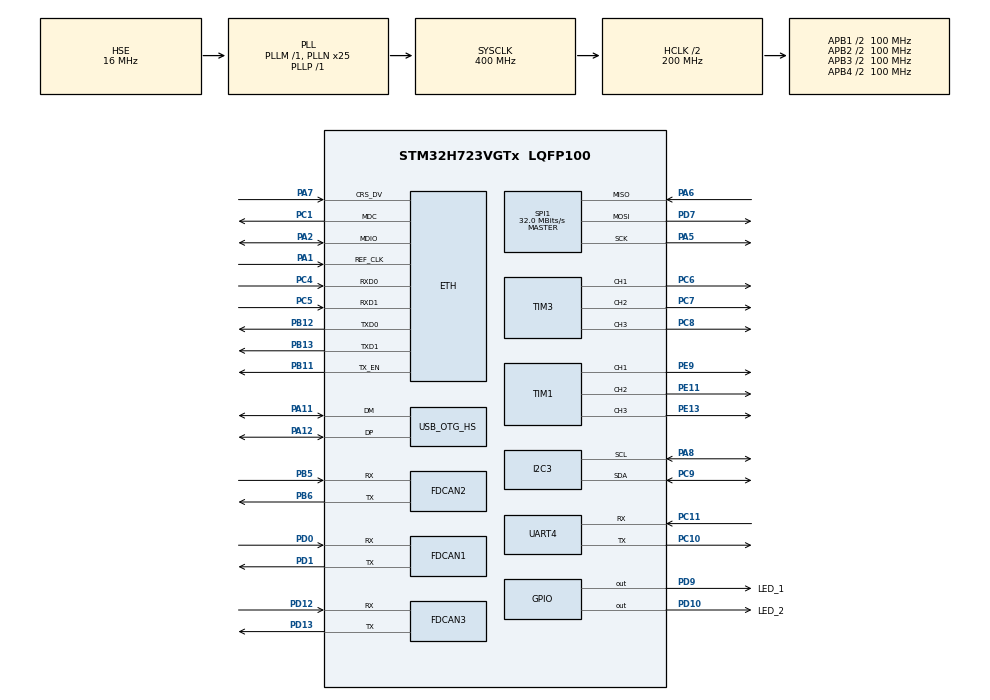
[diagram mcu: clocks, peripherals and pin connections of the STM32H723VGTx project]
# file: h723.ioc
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CORTEX_M7.AccessPermission_S-Cortex_Memory_Protection_Unit_Region1_Settings_S=MPU_REGION_FULL_ACCESS
CORTEX_M7.AccessPermission_S-Cortex_Memory_Protection_Unit_Region2_Settings_S=MPU_REGION_FULL_ACCESS
CORTEX_M7.AccessPermission_Spec=MPU_REGION_FULL_ACCESS
CORTEX_M7.BaseAddress_S-Cortex_Memory_Protection_Unit_Region1_Settings_S=0x30000000
CORTEX_M7.BaseAddress_S-Cortex_Memory_Protection_Unit_Region2_Settings_S=0x24000000
CORTEX_M7.BaseAddress_Spec=0x30000000
CORTEX_M7.CPU_DCache=Enabled
CORTEX_M7.CPU_ICache=Enabled
CORTEX_M7.DisableExec_S-Cortex_Memory_Protection_Unit_Region1_Settings_S=MPU_INSTRUCTION_ACCESS_ENABLE
CORTEX_M7.DisableExec_S-Cortex_Memory_Protection_Unit_Region2_Settings_S=MPU_INSTRUCTION_ACCESS_ENABLE
CORTEX_M7.DisableExec_Spec=MPU_INSTRUCTION_ACCESS_ENABLE
CORTEX_M7.Enable_S-Cortex_Memory_Protection_Unit_Region1_Settings_S=MPU_REGION_ENABLE
CORTEX_M7.Enable_S-Cortex_Memory_Protection_Unit_Region2_Settings_S=MPU_REGION_ENABLE
CORTEX_M7.IsBufferable_S-Cortex_Memory_Protection_Unit_Region1_Settings_S=MPU_ACCESS_BUFFERABLE
CORTEX_M7.IsBufferable_S-Cortex_Memory_Protection_Unit_Region2_Settings_S=MPU_ACCESS_NOT_BUFFERABLE
CORTEX_M7.IsCacheable_S-Cortex_Memory_Protection_Unit_Region2_Settings_S=MPU_ACCESS_NOT_CACHEABLE
CORTEX_M7.IsShareable_S-Cortex_Memory_Protection_Unit_Region1_Settings_S=MPU_ACCESS_SHAREABLE
CORTEX_M7.IsShareable_S-Cortex_Memory_Protection_Unit_Region2_Settings_S=MPU_ACCESS_SHAREABLE
CORTEX_M7.Size_S-Cortex_Memory_Protection_Unit_Region1_Settings_S=MPU_REGION_SIZE_1KB
CORTEX_M7.Size_S-Cortex_Memory_Protection_Unit_Region2_Settings_S=MPU_REGION_SIZE_512KB
CORTEX_M7.Size_Spec=MPU_REGION_SIZE_32KB
CORTEX_M7.SubRegionDisable_Spec=0x0
CORTEX_M7.TypeExtField_S-Cortex_Memory_Protection_Unit_Region2_Settings_S=MPU_TEX_LEVEL1
CORTEX_M7.TypeExtField_Spec=MPU_TEX_LEVEL1
CORTEX_M7.default_mode_Activation=1
ETH.ETH_RX_DESC_CNT=28
ETH.MediaInterface=HAL_ETH_RMII_MODE
ETH.RxBuffLen=1132
ETH.RxBufferAddress=0x30000200
ETH.TxDescAddress=0x300002a0
FDCAN1.CalculateBaudRateNominal=333333
FDCAN1.CalculateTimeBitNominal=3000
FDCAN1.CalculateTimeQuantumNominal=1000.0
FDCAN2.CalculateBaudRateNominal=333333
FDCAN2.CalculateTimeBitNominal=3000
FDCAN2.CalculateTimeQuantumNominal=1000.0
FDCAN3.CalculateBaudRateNominal=333333
FDCAN3.CalculateTimeBitNominal=3000
FDCAN3.CalculateTimeQuantumNominal=1000.0
FREERTOS.Tasks01=defaultTask,0,512,StartDefaultTask,Default,NULL,Dynamic,NULL,NULL
I2C3.Timing=0x10C0ECFF
LWIP.BSP.number=1
LWIP.GATEWAY_ADDRESS=192.168.001.001
LWIP.IP_ADDRESS=192.168.001.010
LWIP.LWIP_DHCP=0
LWIP.LWIP_RAM_HEAP_POINTER=0x24028000
LWIP.MEMP_NUM_PBUF=10
LWIP.MEMP_NUM_RAW_PCB=2
LWIP.MEMP_NUM_TCP_PCB_LISTEN=0
LWIP.MEM_SIZE=16*1024
LWIP.NETMASK_ADDRESS=255.255.255.000
LWIP.PBUF_POOL_BUFSIZE=1536
LWIP.PBUF_POOL_SIZE=16
LWIP.SYS_LIGHTWEIGHT_PROT=0
LWIP.TCP_MSS=1460
LWIP.TCP_SND_BUF=5840
LWIP.TCP_SND_QUEUELEN=16
LWIP.Version=v2.1.2_Cube
LWIP0.BSP.STBoard=false
LWIP0.BSP.api=BSP_COMPONENT_DRIVER
LWIP0.BSP.component=LAN8742
LWIP0.BSP.instance=LAN8742
LWIP0.BSP.name=Driver_PHY
LWIP0.BSP.semaphore=S_LAN8742
LWIP0.BSP.solution=LAN8742
Mcu.Family=STM32H7
Mcu.Name=STM32H723VGTx
Mcu.Package=LQFP100
NVIC.ETH_IRQn=true\:5\:0\:false\:false\:true\:true\:true\:true\:true
NVIC.OTG_HS_IRQn=true\:5\:0\:false\:false\:true\:true\:false\:true\:true
NVIC.PriorityGroup=NVIC_PRIORITYGROUP_4
NVIC.TIM6_DAC_IRQn=true\:15\:0\:false\:false\:true\:false\:false\:true\:true
NVIC.TimeBase=TIM6_DAC_IRQn
NVIC.TimeBaseIP=TIM6
PA1.GPIO_Speed=GPIO_SPEED_FREQ_VERY_HIGH
PA1.Mode=RMII
PA1.Signal=ETH_REF_CLK
PA11.Mode=Device_Only_FS
PA11.Signal=USB_OTG_HS_DM
PA12.Mode=Device_Only_FS
PA12.Signal=USB_OTG_HS_DP
PA13(JTMS/SWDIO).Mode=Serial_Wire
PA13(JTMS/SWDIO).Signal=DEBUG_JTMS-SWDIO
PA14(JTCK/SWCLK).Mode=Serial_Wire
PA14(JTCK/SWCLK).Signal=DEBUG_JTCK-SWCLK
PA2.GPIO_Speed=GPIO_SPEED_FREQ_VERY_HIGH
PA2.Mode=RMII
PA2.Signal=ETH_MDIO
PA5.Mode=Full_Duplex_Master
PA5.Signal=SPI1_SCK
PA6.Mode=Full_Duplex_Master
PA6.Signal=SPI1_MISO
PA7.GPIO_Speed=GPIO_SPEED_FREQ_VERY_HIGH
PA7.Mode=RMII
PA7.Signal=ETH_CRS_DV
PA8.Mode=I2C
PA8.Signal=I2C3_SCL
PB11.GPIO_Speed=GPIO_SPEED_FREQ_VERY_HIGH
PB11.Mode=RMII
PB11.Signal=ETH_TX_EN
PB12.GPIO_Speed=GPIO_SPEED_FREQ_VERY_HIGH
PB12.Mode=RMII
PB12.Signal=ETH_TXD0
PB13.GPIO_Speed=GPIO_SPEED_FREQ_VERY_HIGH
PB13.Mode=RMII
PB13.Signal=ETH_TXD1
PB5.Mode=FDCAN_Activate
PB5.Signal=FDCAN2_RX
PB6.Mode=FDCAN_Activate
PB6.Signal=FDCAN2_TX
PC1.GPIO_Speed=GPIO_SPEED_FREQ_VERY_HIGH
PC1.Mode=RMII
PC1.Signal=ETH_MDC
PC10.Mode=Asynchronous
PC10.Signal=UART4_TX
PC11.Mode=Asynchronous
PC11.Signal=UART4_RX
PC4.GPIO_Speed=GPIO_SPEED_FREQ_VERY_HIGH
PC4.Mode=RMII
PC4.Signal=ETH_RXD0
PC5.GPIO_Speed=GPIO_SPEED_FREQ_VERY_HIGH
PC5.Mode=RMII
PC5.Signal=ETH_RXD1
PC6.Signal=S_TIM3_CH1
PC7.Signal=S_TIM3_CH2
PC8.Signal=S_TIM3_CH3
PC9.Mode=I2C
PC9.Signal=I2C3_SDA
PD0.Mode=FDCAN_Activate
PD0.Signal=FDCAN1_RX
PD1.Mode=FDCAN_Activate
PD1.Signal=FDCAN1_TX
PD10.GPIO_Label=LED_2
PD10.Signal=GPIO_Output
PD12.Mode=FDCAN_Activate
PD12.Signal=FDCAN3_RX
PD13.Mode=FDCAN_Activate
PD13.Signal=FDCAN3_TX
PD7.Mode=Full_Duplex_Master
PD7.Signal=SPI1_MOSI
PD9.GPIO_Label=LED_1
PD9.Signal=GPIO_Output
PE11.Signal=S_TIM1_CH2
PE13.Signal=S_TIM1_CH3
PE9.Signal=S_TIM1_CH1
PH0-OSC_IN.Mode=HSE-External-Oscillator
PH0-OSC_IN.Signal=RCC_OSC_IN
PH1-OSC_OUT.Mode=HSE-External-Oscillator
PH1-OSC_OUT.Signal=RCC_OSC_OUT
ProjectManager.HeapSize=0x200
ProjectManager.StackSize=0x400
ProjectManager.TargetToolchain=Makefile
RCC.ADCFreq_Value=32250000
RCC.APB1Freq_Value=100000000
RCC.APB2Freq_Value=100000000
RCC.APB3Freq_Value=100000000
RCC.APB4Freq_Value=100000000
RCC.CortexFreq_Value=400000000
RCC.D1PPRE=RCC_APB3_DIV2
RCC.D2PPRE1=RCC_APB1_DIV2
RCC.D2PPRE2=RCC_APB2_DIV2
RCC.D3PPRE=RCC_APB4_DIV2
RCC.DIVM1=1
RCC.DIVN1=25
RCC.DIVP1=1
RCC.DIVQ1=3
RCC.FDCANCLockSelection=RCC_FDCANCLKSOURCE_HSE
RCC.HCLKFreq_Value=200000000
RCC.HPRE=RCC_HCLK_DIV2
RCC.HSE_VALUE=16000000
RCC.PLL2FRACN=0
RCC.PLL3FRACN=0
RCC.PLLFRACN=0
RCC.PLLSourceVirtual=RCC_PLLSOURCE_HSE
RCC.PWR_Regulator_Voltage_Scale=PWR_REGULATOR_VOLTAGE_SCALE0
RCC.SPI123CLockSelection=RCC_SPI123CLKSOURCE_CLKP
RCC.SYSCLKFreq_VALUE=400000000
RCC.SYSCLKSource=RCC_SYSCLKSOURCE_PLLCLK
RCC.USBCLockSelection=RCC_USBCLKSOURCE_HSI48
RCC.USBFreq_Value=48000000
SH.S_TIM1_CH1.0=TIM1_CH1,PWM Generation1 CH1
SH.S_TIM1_CH2.0=TIM1_CH2,Output Compare2 CH2
SH.S_TIM1_CH3.0=TIM1_CH3,Output Compare3 CH3
SH.S_TIM3_CH1.0=TIM3_CH1,PWM Generation1 CH1
SH.S_TIM3_CH2.0=TIM3_CH2,PWM Generation2 CH2
SH.S_TIM3_CH3.0=TIM3_CH3,PWM Generation3 CH3
SPI1.CalculateBaudRate=32.0 MBits/s
SPI1.Direction=SPI_DIRECTION_2LINES
SPI1.Mode=SPI_MODE_MASTER
SPI1.VirtualType=VM_MASTER
TIM1.Channel-Output\ Compare2\ CH2=TIM_CHANNEL_2
TIM1.Channel-Output\ Compare3\ CH3=TIM_CHANNEL_3
TIM1.Channel-PWM\ Generation1\ CH1=TIM_CHANNEL_1
TIM3.Channel-PWM\ Generation1\ CH1=TIM_CHANNEL_1
TIM3.Channel-PWM\ Generation2\ CH2=TIM_CHANNEL_2
TIM3.Channel-PWM\ Generation3\ CH3=TIM_CHANNEL_3
USB_DEVICE.CLASS_NAME_HS=CDC
USB_DEVICE.VirtualMode=Cdc
USB_DEVICE.VirtualModeHS=Cdc_HS
USB_OTG_HS.VirtualMode-Device_Only_FS=Device_Only_FS
VP_FREERTOS_VS_CMSIS_V1.Mode=CMSIS_V1
VP_LWIP_VS_Enabled.Mode=Enabled
VP_MEMORYMAP_VS_MEMORYMAP.Mode=CurAppReg
VP_SYS_VS_tim6.Mode=TIM6
VP_USB_DEVICE_VS_USB_DEVICE_CDC_HS.Mode=CDC_HS
board=custom

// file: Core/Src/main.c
/* USER CODE BEGIN Header */
/**
 ******************************************************************************
 * @file           : main.c
 * @brief          : Main program body
 ******************************************************************************
 * @attention
 *
 * Copyright (c) 2025 STMicroelectronics.
 * All rights reserved.
 *
 * This software is licensed under terms that can be found in the LICENSE file
 * in the root directory of this software component.
 * If no LICENSE file comes with this software, it is provided AS-IS.
 *
 ******************************************************************************
 */
/* USER CODE END Header */
#include "main.h"
#include "cmsis_os.h"
#include "lwip.h"
#include "usb_device.h"

/* USER CODE BEGIN Includes */
#include "usbd_cdc_if.h"
#include <string.h>
#include <stdio.h>
#include "lwip/udp.h"
#include "lwip/pbuf.h"
#include "usbd_cdc_if.h"
/* USER CODE END Includes */

FDCAN_HandleTypeDef hfdcan1;
FDCAN_HandleTypeDef hfdcan2;
FDCAN_HandleTypeDef hfdcan3;

I2C_HandleTypeDef hi2c3;

SPI_HandleTypeDef hspi1;

TIM_HandleTypeDef htim1;
TIM_HandleTypeDef htim3;

UART_HandleTypeDef huart4;

osThreadId defaultTaskHandle;

void SystemClock_Config(void);
void PeriphCommonClock_Config(void);
static void MPU_Config(void);
static void MX_GPIO_Init(void);
static void MX_FDCAN1_Init(void);
static void MX_FDCAN2_Init(void);
static void MX_FDCAN3_Init(void);
static void MX_I2C3_Init(void);
static void MX_SPI1_Init(void);
static void MX_TIM1_Init(void);
static void MX_TIM3_Init(void);
static void MX_UART4_Init(void);
void StartDefaultTask(void const *argument);

/* USER CODE BEGIN 0 */
char *buf = "Hello\n\r";
/* USER CODE END 0 */

int main(void)
{

  /* MPU Configuration--------------------------------------------------------*/
  MPU_Config();

  /* Enable the CPU Cache */

  /* Enable I-Cache---------------------------------------------------------*/
  SCB_EnableICache();

  /* Enable D-Cache---------------------------------------------------------*/
  SCB_EnableDCache();

  /* MCU Configuration--------------------------------------------------------*/

  /* Reset of all peripherals, Initializes the Flash interface and the Systick. */
  HAL_Init();

  /* Configure the system clock */
  SystemClock_Config();

  /* Configure the peripherals common clocks */
  PeriphCommonClock_Config();

  /* Initialize all configured peripherals */
  MX_GPIO_Init();
  MX_FDCAN1_Init();
  MX_FDCAN2_Init();
  MX_FDCAN3_Init();
  MX_I2C3_Init();
  MX_SPI1_Init();
  MX_TIM1_Init();
  MX_TIM3_Init();
  MX_UART4_Init();
  /* USER CODE BEGIN 2 */
  buf = "Hello\n\r";
  /* USER CODE END 2 */

  /* Create the thread(s) */
  /* definition and creation of defaultTask */
  osThreadDef(defaultTask, StartDefaultTask, osPriorityNormal, 0, 512);
  defaultTaskHandle = osThreadCreate(osThread(defaultTask), NULL);

  /* Start scheduler */
  osKernelStart();

  /* We should never get here as control is now taken by the scheduler */

  /* Infinite loop */
  while (1)
  {

  }
}

void SystemClock_Config(void)
{
  RCC_OscInitTypeDef RCC_OscInitStruct = {0};
  RCC_ClkInitTypeDef RCC_ClkInitStruct = {0};

  /** Supply configuration update enable
   */
  HAL_PWREx_ConfigSupply(PWR_LDO_SUPPLY);

  /** Configure the main internal regulator output voltage
   */
  __HAL_PWR_VOLTAGESCALING_CONFIG(PWR_REGULATOR_VOLTAGE_SCALE0);

  while (!__HAL_PWR_GET_FLAG(PWR_FLAG_VOSRDY))
  {
  }

  /** Initializes the RCC Oscillators according to the specified parameters
   * in the RCC_OscInitTypeDef structure.
   */
  RCC_OscInitStruct.OscillatorType = RCC_OSCILLATORTYPE_HSI48 | RCC_OSCILLATORTYPE_HSI | RCC_OSCILLATORTYPE_HSE;
  RCC_OscInitStruct.HSEState = RCC_HSE_ON;
  RCC_OscInitStruct.HSIState = RCC_HSI_DIV1;
  RCC_OscInitStruct.HSICalibrationValue = 64;
  RCC_OscInitStruct.HSI48State = RCC_HSI48_ON;
  RCC_OscInitStruct.PLL.PLLState = RCC_PLL_ON;
  RCC_OscInitStruct.PLL.PLLSource = RCC_PLLSOURCE_HSE;
  RCC_OscInitStruct.PLL.PLLM = 1;
  RCC_OscInitStruct.PLL.PLLN = 25;
  RCC_OscInitStruct.PLL.PLLP = 1;
  RCC_OscInitStruct.PLL.PLLQ = 3;
  RCC_OscInitStruct.PLL.PLLR = 2;
  RCC_OscInitStruct.PLL.PLLRGE = RCC_PLL1VCIRANGE_3;
  RCC_OscInitStruct.PLL.PLLVCOSEL = RCC_PLL1VCOWIDE;
  RCC_OscInitStruct.PLL.PLLFRACN = 0;
  if (HAL_RCC_OscConfig(&RCC_OscInitStruct) != HAL_OK)
  {
    Error_Handler();
  }

  /** Initializes the CPU, AHB and APB buses clocks
   */
  RCC_ClkInitStruct.ClockType = RCC_CLOCKTYPE_HCLK | RCC_CLOCKTYPE_SYSCLK | RCC_CLOCKTYPE_PCLK1 | RCC_CLOCKTYPE_PCLK2 | RCC_CLOCKTYPE_D3PCLK1 | RCC_CLOCKTYPE_D1PCLK1;
  RCC_ClkInitStruct.SYSCLKSource = RCC_SYSCLKSOURCE_PLLCLK;
  RCC_ClkInitStruct.SYSCLKDivider = RCC_SYSCLK_DIV1;
  RCC_ClkInitStruct.AHBCLKDivider = RCC_HCLK_DIV2;
  RCC_ClkInitStruct.APB3CLKDivider = RCC_APB3_DIV2;
  RCC_ClkInitStruct.APB1CLKDivider = RCC_APB1_DIV2;
  RCC_ClkInitStruct.APB2CLKDivider = RCC_APB2_DIV2;
  RCC_ClkInitStruct.APB4CLKDivider = RCC_APB4_DIV2;

  if (HAL_RCC_ClockConfig(&RCC_ClkInitStruct, FLASH_LATENCY_2) != HAL_OK)
  {
    Error_Handler();
  }
}

void PeriphCommonClock_Config(void)
{
  RCC_PeriphCLKInitTypeDef PeriphClkInitStruct = {0};

  /** Initializes the peripherals clock
   */
  PeriphClkInitStruct.PeriphClockSelection = RCC_PERIPHCLK_CKPER;
  PeriphClkInitStruct.CkperClockSelection = RCC_CLKPSOURCE_HSI;
  if (HAL_RCCEx_PeriphCLKConfig(&PeriphClkInitStruct) != HAL_OK)
  {
    Error_Handler();
  }
}

static void MX_FDCAN1_Init(void)
{

  hfdcan1.Instance = FDCAN1;
  hfdcan1.Init.FrameFormat = FDCAN_FRAME_CLASSIC;
  hfdcan1.Init.Mode = FDCAN_MODE_NORMAL;
  hfdcan1.Init.AutoRetransmission = DISABLE;
  hfdcan1.Init.TransmitPause = DISABLE;
  hfdcan1.Init.ProtocolException = DISABLE;
  hfdcan1.Init.NominalPrescaler = 16;
  hfdcan1.Init.NominalSyncJumpWidth = 1;
  hfdcan1.Init.NominalTimeSeg1 = 1;
  hfdcan1.Init.NominalTimeSeg2 = 1;
  hfdcan1.Init.DataPrescaler = 1;
  hfdcan1.Init.DataSyncJumpWidth = 1;
  hfdcan1.Init.DataTimeSeg1 = 1;
  hfdcan1.Init.DataTimeSeg2 = 1;
  hfdcan1.Init.MessageRAMOffset = 0;
  hfdcan1.Init.StdFiltersNbr = 0;
  hfdcan1.Init.ExtFiltersNbr = 0;
  hfdcan1.Init.RxFifo0ElmtsNbr = 0;
  hfdcan1.Init.RxFifo0ElmtSize = FDCAN_DATA_BYTES_8;
  hfdcan1.Init.RxFifo1ElmtsNbr = 0;
  hfdcan1.Init.RxFifo1ElmtSize = FDCAN_DATA_BYTES_8;
  hfdcan1.Init.RxBuffersNbr = 0;
  hfdcan1.Init.RxBufferSize = FDCAN_DATA_BYTES_8;
  hfdcan1.Init.TxEventsNbr = 0;
  hfdcan1.Init.TxBuffersNbr = 0;
  hfdcan1.Init.TxFifoQueueElmtsNbr = 0;
  hfdcan1.Init.TxFifoQueueMode = FDCAN_TX_FIFO_OPERATION;
  hfdcan1.Init.TxElmtSize = FDCAN_DATA_BYTES_8;
  if (HAL_FDCAN_Init(&hfdcan1) != HAL_OK)
  {
    Error_Handler();
  }
}

static void MX_FDCAN2_Init(void)
{

  hfdcan2.Instance = FDCAN2;
  hfdcan2.Init.FrameFormat = FDCAN_FRAME_CLASSIC;
  hfdcan2.Init.Mode = FDCAN_MODE_NORMAL;
  hfdcan2.Init.AutoRetransmission = DISABLE;
  hfdcan2.Init.TransmitPause = DISABLE;
  hfdcan2.Init.ProtocolException = DISABLE;
  hfdcan2.Init.NominalPrescaler = 16;
  hfdcan2.Init.NominalSyncJumpWidth = 1;
  hfdcan2.Init.NominalTimeSeg1 = 1;
  hfdcan2.Init.NominalTimeSeg2 = 1;
  hfdcan2.Init.DataPrescaler = 1;
  hfdcan2.Init.DataSyncJumpWidth = 1;
  hfdcan2.Init.DataTimeSeg1 = 1;
  hfdcan2.Init.DataTimeSeg2 = 1;
  hfdcan2.Init.MessageRAMOffset = 0;
  hfdcan2.Init.StdFiltersNbr = 0;
  hfdcan2.Init.ExtFiltersNbr = 0;
  hfdcan2.Init.RxFifo0ElmtsNbr = 0;
  hfdcan2.Init.RxFifo0ElmtSize = FDCAN_DATA_BYTES_8;
  hfdcan2.Init.RxFifo1ElmtsNbr = 0;
  hfdcan2.Init.RxFifo1ElmtSize = FDCAN_DATA_BYTES_8;
  hfdcan2.Init.RxBuffersNbr = 0;
  hfdcan2.Init.RxBufferSize = FDCAN_DATA_BYTES_8;
  hfdcan2.Init.TxEventsNbr = 0;
  hfdcan2.Init.TxBuffersNbr = 0;
  hfdcan2.Init.TxFifoQueueElmtsNbr = 0;
  hfdcan2.Init.TxFifoQueueMode = FDCAN_TX_FIFO_OPERATION;
  hfdcan2.Init.TxElmtSize = FDCAN_DATA_BYTES_8;
  if (HAL_FDCAN_Init(&hfdcan2) != HAL_OK)
  {
    Error_Handler();
  }
}

static void MX_FDCAN3_Init(void)
{

  hfdcan3.Instance = FDCAN3;
  hfdcan3.Init.FrameFormat = FDCAN_FRAME_CLASSIC;
  hfdcan3.Init.Mode = FDCAN_MODE_NORMAL;
  hfdcan3.Init.AutoRetransmission = DISABLE;
  hfdcan3.Init.TransmitPause = DISABLE;
  hfdcan3.Init.ProtocolException = DISABLE;
  hfdcan3.Init.NominalPrescaler = 16;
  hfdcan3.Init.NominalSyncJumpWidth = 1;
  hfdcan3.Init.NominalTimeSeg1 = 1;
  hfdcan3.Init.NominalTimeSeg2 = 1;
  hfdcan3.Init.DataPrescaler = 1;
  hfdcan3.Init.DataSyncJumpWidth = 1;
  hfdcan3.Init.DataTimeSeg1 = 1;
  hfdcan3.Init.DataTimeSeg2 = 1;
  hfdcan3.Init.MessageRAMOffset = 0;
  hfdcan3.Init.StdFiltersNbr = 0;
  hfdcan3.Init.ExtFiltersNbr = 0;
  hfdcan3.Init.RxFifo0ElmtsNbr = 0;
  hfdcan3.Init.RxFifo0ElmtSize = FDCAN_DATA_BYTES_8;
  hfdcan3.Init.RxFifo1ElmtsNbr = 0;
  hfdcan3.Init.RxFifo1ElmtSize = FDCAN_DATA_BYTES_8;
  hfdcan3.Init.RxBuffersNbr = 0;
  hfdcan3.Init.RxBufferSize = FDCAN_DATA_BYTES_8;
  hfdcan3.Init.TxEventsNbr = 0;
  hfdcan3.Init.TxBuffersNbr = 0;
  hfdcan3.Init.TxFifoQueueElmtsNbr = 0;
  hfdcan3.Init.TxFifoQueueMode = FDCAN_TX_FIFO_OPERATION;
  hfdcan3.Init.TxElmtSize = FDCAN_DATA_BYTES_8;
  if (HAL_FDCAN_Init(&hfdcan3) != HAL_OK)
  {
    Error_Handler();
  }
}

static void MX_I2C3_Init(void)
{

  hi2c3.Instance = I2C3;
  hi2c3.Init.Timing = 0x10C0ECFF;
  hi2c3.Init.OwnAddress1 = 0;
  hi2c3.Init.AddressingMode = I2C_ADDRESSINGMODE_7BIT;
  hi2c3.Init.DualAddressMode = I2C_DUALADDRESS_DISABLE;
  hi2c3.Init.OwnAddress2 = 0;
  hi2c3.Init.OwnAddress2Masks = I2C_OA2_NOMASK;
  hi2c3.Init.GeneralCallMode = I2C_GENERALCALL_DISABLE;
  hi2c3.Init.NoStretchMode = I2C_NOSTRETCH_DISABLE;
  if (HAL_I2C_Init(&hi2c3) != HAL_OK)
  {
    Error_Handler();
  }

  /** Configure Analogue filter
   */
  if (HAL_I2CEx_ConfigAnalogFilter(&hi2c3, I2C_ANALOGFILTER_ENABLE) != HAL_OK)
  {
    Error_Handler();
  }

  /** Configure Digital filter
   */
  if (HAL_I2CEx_ConfigDigitalFilter(&hi2c3, 0) != HAL_OK)
  {
    Error_Handler();
  }
}

static void MX_SPI1_Init(void)
{

  /* SPI1 parameter configuration*/
  hspi1.Instance = SPI1;
  hspi1.Init.Mode = SPI_MODE_MASTER;
  hspi1.Init.Direction = SPI_DIRECTION_2LINES;
  hspi1.Init.DataSize = SPI_DATASIZE_4BIT;
  hspi1.Init.CLKPolarity = SPI_POLARITY_LOW;
  hspi1.Init.CLKPhase = SPI_PHASE_1EDGE;
  hspi1.Init.NSS = SPI_NSS_SOFT;
  hspi1.Init.BaudRatePrescaler = SPI_BAUDRATEPRESCALER_2;
  hspi1.Init.FirstBit = SPI_FIRSTBIT_MSB;
  hspi1.Init.TIMode = SPI_TIMODE_DISABLE;
  hspi1.Init.CRCCalculation = SPI_CRCCALCULATION_DISABLE;
  hspi1.Init.CRCPolynomial = 0x0;
  hspi1.Init.NSSPMode = SPI_NSS_PULSE_ENABLE;
  hspi1.Init.NSSPolarity = SPI_NSS_POLARITY_LOW;
  hspi1.Init.FifoThreshold = SPI_FIFO_THRESHOLD_01DATA;
  hspi1.Init.TxCRCInitializationPattern = SPI_CRC_INITIALIZATION_ALL_ZERO_PATTERN;
  hspi1.Init.RxCRCInitializationPattern = SPI_CRC_INITIALIZATION_ALL_ZERO_PATTERN;
  hspi1.Init.MasterSSIdleness = SPI_MASTER_SS_IDLENESS_00CYCLE;
  hspi1.Init.MasterInterDataIdleness = SPI_MASTER_INTERDATA_IDLENESS_00CYCLE;
  hspi1.Init.MasterReceiverAutoSusp = SPI_MASTER_RX_AUTOSUSP_DISABLE;
  hspi1.Init.MasterKeepIOState = SPI_MASTER_KEEP_IO_STATE_DISABLE;
  hspi1.Init.IOSwap = SPI_IO_SWAP_DISABLE;
  if (HAL_SPI_Init(&hspi1) != HAL_OK)
  {
    Error_Handler();
  }
}

static void MX_TIM1_Init(void)
{

  TIM_MasterConfigTypeDef sMasterConfig = {0};
  TIM_OC_InitTypeDef sConfigOC = {0};
  TIM_BreakDeadTimeConfigTypeDef sBreakDeadTimeConfig = {0};

  htim1.Instance = TIM1;
  htim1.Init.Prescaler = 0;
  htim1.Init.CounterMode = TIM_COUNTERMODE_UP;
  htim1.Init.Period = 65535;
  htim1.Init.ClockDivision = TIM_CLOCKDIVISION_DIV1;
  htim1.Init.RepetitionCounter = 0;
  htim1.Init.AutoReloadPreload = TIM_AUTORELOAD_PRELOAD_DISABLE;
  if (HAL_TIM_PWM_Init(&htim1) != HAL_OK)
  {
    Error_Handler();
  }
  if (HAL_TIM_OC_Init(&htim1) != HAL_OK)
  {
    Error_Handler();
  }
  sMasterConfig.MasterOutputTrigger = TIM_TRGO_RESET;
  sMasterConfig.MasterOutputTrigger2 = TIM_TRGO2_RESET;
  sMasterConfig.MasterSlaveMode = TIM_MASTERSLAVEMODE_DISABLE;
  if (HAL_TIMEx_MasterConfigSynchronization(&htim1, &sMasterConfig) != HAL_OK)
  {
    Error_Handler();
  }
  sConfigOC.OCMode = TIM_OCMODE_PWM1;
  sConfigOC.Pulse = 0;
  sConfigOC.OCPolarity = TIM_OCPOLARITY_HIGH;
  sConfigOC.OCNPolarity = TIM_OCNPOLARITY_HIGH;
  sConfigOC.OCFastMode = TIM_OCFAST_DISABLE;
  sConfigOC.OCIdleState = TIM_OCIDLESTATE_RESET;
  sConfigOC.OCNIdleState = TIM_OCNIDLESTATE_RESET;
  if (HAL_TIM_PWM_ConfigChannel(&htim1, &sConfigOC, TIM_CHANNEL_1) != HAL_OK)
  {
    Error_Handler();
  }
  sConfigOC.OCMode = TIM_OCMODE_TIMING;
  if (HAL_TIM_OC_ConfigChannel(&htim1, &sConfigOC, TIM_CHANNEL_2) != HAL_OK)
  {
    Error_Handler();
  }
  if (HAL_TIM_OC_ConfigChannel(&htim1, &sConfigOC, TIM_CHANNEL_3) != HAL_OK)
  {
    Error_Handler();
  }
  sBreakDeadTimeConfig.OffStateRunMode = TIM_OSSR_DISABLE;
  sBreakDeadTimeConfig.OffStateIDLEMode = TIM_OSSI_DISABLE;
  sBreakDeadTimeConfig.LockLevel = TIM_LOCKLEVEL_OFF;
  sBreakDeadTimeConfig.DeadTime = 0;
  sBreakDeadTimeConfig.BreakState = TIM_BREAK_DISABLE;
  sBreakDeadTimeConfig.BreakPolarity = TIM_BREAKPOLARITY_HIGH;
  sBreakDeadTimeConfig.BreakFilter = 0;
  sBreakDeadTimeConfig.Break2State = TIM_BREAK2_DISABLE;
  sBreakDeadTimeConfig.Break2Polarity = TIM_BREAK2POLARITY_HIGH;
  sBreakDeadTimeConfig.Break2Filter = 0;
  sBreakDeadTimeConfig.AutomaticOutput = TIM_AUTOMATICOUTPUT_DISABLE;
  if (HAL_TIMEx_ConfigBreakDeadTime(&htim1, &sBreakDeadTimeConfig) != HAL_OK)
  {
    Error_Handler();
  }
  HAL_TIM_MspPostInit(&htim1);
}

static void MX_TIM3_Init(void)
{

  TIM_MasterConfigTypeDef sMasterConfig = {0};
  TIM_OC_InitTypeDef sConfigOC = {0};

  htim3.Instance = TIM3;
  htim3.Init.Prescaler = 0;
  htim3.Init.CounterMode = TIM_COUNTERMODE_UP;
  htim3.Init.Period = 65535;
  htim3.Init.ClockDivision = TIM_CLOCKDIVISION_DIV1;
  htim3.Init.AutoReloadPreload = TIM_AUTORELOAD_PRELOAD_DISABLE;
  if (HAL_TIM_PWM_Init(&htim3) != HAL_OK)
  {
    Error_Handler();
  }
  sMasterConfig.MasterOutputTrigger = TIM_TRGO_RESET;
  sMasterConfig.MasterSlaveMode = TIM_MASTERSLAVEMODE_DISABLE;
  if (HAL_TIMEx_MasterConfigSynchronization(&htim3, &sMasterConfig) != HAL_OK)
  {
    Error_Handler();
  }
  sConfigOC.OCMode = TIM_OCMODE_PWM1;
  sConfigOC.Pulse = 0;
  sConfigOC.OCPolarity = TIM_OCPOLARITY_HIGH;
  sConfigOC.OCFastMode = TIM_OCFAST_DISABLE;
  if (HAL_TIM_PWM_ConfigChannel(&htim3, &sConfigOC, TIM_CHANNEL_1) != HAL_OK)
  {
    Error_Handler();
  }
  if (HAL_TIM_PWM_ConfigChannel(&htim3, &sConfigOC, TIM_CHANNEL_2) != HAL_OK)
  {
    Error_Handler();
  }
  if (HAL_TIM_PWM_ConfigChannel(&htim3, &sConfigOC, TIM_CHANNEL_3) != HAL_OK)
  {
    Error_Handler();
  }
  HAL_TIM_MspPostInit(&htim3);
}

static void MX_UART4_Init(void)
{

  huart4.Instance = UART4;
  huart4.Init.BaudRate = 115200;
  huart4.Init.WordLength = UART_WORDLENGTH_8B;
  huart4.Init.StopBits = UART_STOPBITS_1;
  huart4.Init.Parity = UART_PARITY_NONE;
  huart4.Init.Mode = UART_MODE_TX_RX;
  huart4.Init.HwFlowCtl = UART_HWCONTROL_NONE;
  huart4.Init.OverSampling = UART_OVERSAMPLING_16;
  huart4.Init.OneBitSampling = UART_ONE_BIT_SAMPLE_DISABLE;
  huart4.Init.ClockPrescaler = UART_PRESCALER_DIV1;
  huart4.AdvancedInit.AdvFeatureInit = UART_ADVFEATURE_NO_INIT;
  if (HAL_UART_Init(&huart4) != HAL_OK)
  {
    Error_Handler();
  }
  if (HAL_UARTEx_SetTxFifoThreshold(&huart4, UART_TXFIFO_THRESHOLD_1_8) != HAL_OK)
  {
    Error_Handler();
  }
  if (HAL_UARTEx_SetRxFifoThreshold(&huart4, UART_RXFIFO_THRESHOLD_1_8) != HAL_OK)
  {
    Error_Handler();
  }
  if (HAL_UARTEx_DisableFifoMode(&huart4) != HAL_OK)
  {
    Error_Handler();
  }
}

static void MX_GPIO_Init(void)
{
  GPIO_InitTypeDef GPIO_InitStruct = {0};

  /* GPIO Ports Clock Enable */
  __HAL_RCC_GPIOH_CLK_ENABLE();
  __HAL_RCC_GPIOC_CLK_ENABLE();
  __HAL_RCC_GPIOA_CLK_ENABLE();
  __HAL_RCC_GPIOE_CLK_ENABLE();
  __HAL_RCC_GPIOB_CLK_ENABLE();
  __HAL_RCC_GPIOD_CLK_ENABLE();

  /*Configure GPIO pin Output Level */
  HAL_GPIO_WritePin(GPIOD, LED_1_Pin | LED_2_Pin, GPIO_PIN_RESET);

  /*Configure GPIO pins : LED_1_Pin LED_2_Pin */
  GPIO_InitStruct.Pin = LED_1_Pin | LED_2_Pin;
  GPIO_InitStruct.Mode = GPIO_MODE_OUTPUT_PP;
  GPIO_InitStruct.Pull = GPIO_NOPULL;
  GPIO_InitStruct.Speed = GPIO_SPEED_FREQ_LOW;
  HAL_GPIO_Init(GPIOD, &GPIO_InitStruct);

}

void StartDefaultTask(void const *argument)
{
  /* init code for LWIP */
  MX_LWIP_Init();

  /* init code for USB_DEVICE */
  MX_USB_DEVICE_Init();
  /* USER CODE BEGIN 5 */
  const char *message = "Hello UDP message!\n\r";

  osDelay(1000);

  ip_addr_t PC_IPADDR;
  IP_ADDR4(&PC_IPADDR, 192, 168, 1, 1);

  struct udp_pcb *my_udp = udp_new();
  udp_connect(my_udp, &PC_IPADDR, 55151);
  struct pbuf *udp_buffer = NULL;

  // ネットワークインターフェースの取得
  extern struct netif gnetif;

  // リンクが確立するまで待機
  CDC_Transmit_HS((uint8_t *)"Waiting for link up...\r\n", strlen("Waiting for link up...\r\n"));
  osDelay(100); // USB CDC送信待ち

  while (!netif_is_link_up(&gnetif))
  {
    osDelay(100);
  }
  CDC_Transmit_HS((uint8_t *)"Link is UP!\r\n", strlen("Link is UP!\r\n"));
  osDelay(100); // USB CDC送信待ち

  // インターフェースがupするまで待機
  while (!netif_is_up(&gnetif))
  {
    osDelay(100);
  }
  CDC_Transmit_HS((uint8_t *)"Interface is UP!\r\n", strlen("Interface is UP!\r\n"));
  osDelay(100); // USB CDC送信待ち

  // さらに少し待機（ARPテーブル構築のため）
  osDelay(2000); // 2秒待機（Rx割り込みが動作するか確認）

  CDC_Transmit_HS((uint8_t *)"Starting UDP...\r\n", strlen("Starting UDP...\r\n"));
  osDelay(100);

  /* Infinite loop */
  for (;;)
  {
    // LED点滅など
    osDelay(1000);
    /* !! PBUF_RAM は正しい動作のために重要です !! */
    udp_buffer = pbuf_alloc(PBUF_TRANSPORT, strlen(message), PBUF_RAM);

    if (udp_buffer != NULL)
    {
      memcpy(udp_buffer->payload, message, strlen(message));
      err_t err = udp_send(my_udp, udp_buffer);
      pbuf_free(udp_buffer);

      // udp_sendの結果を表示
      if (err == ERR_OK)
      {
        CDC_Transmit_HS((uint8_t *)"UDP sent OK\r\n", strlen("UDP sent OK\r\n"));
      }
      else
      {
        char err_msg[50];
        snprintf(err_msg, sizeof(err_msg), "UDP send ERROR: %d\r\n", err);
        CDC_Transmit_HS((uint8_t *)err_msg, strlen(err_msg));
      }
    }
    else
    {
      CDC_Transmit_HS((uint8_t *)"udp_buffer is NULL\r\n", strlen("udp_buffer is NULL\r\n"));
    }

    HAL_GPIO_TogglePin(LED_1_GPIO_Port, LED_1_Pin);
    osDelay(1000);
  }
  /* USER CODE END 5 */
}

/* MPU Configuration */

void MPU_Config(void)
{
  MPU_Region_InitTypeDef MPU_InitStruct = {0};

  /* Disables the MPU */
  HAL_MPU_Disable();

  /** Initializes and configures the Region and the memory to be protected
   */
  MPU_InitStruct.Enable = MPU_REGION_ENABLE;
  MPU_InitStruct.Number = MPU_REGION_NUMBER0;
  MPU_InitStruct.BaseAddress = 0x30000000;
  MPU_InitStruct.Size = MPU_REGION_SIZE_32KB;
  MPU_InitStruct.SubRegionDisable = 0x0;
  MPU_InitStruct.TypeExtField = MPU_TEX_LEVEL1;
  MPU_InitStruct.AccessPermission = MPU_REGION_FULL_ACCESS;
  MPU_InitStruct.DisableExec = MPU_INSTRUCTION_ACCESS_ENABLE;
  MPU_InitStruct.IsShareable = MPU_ACCESS_SHAREABLE;
  MPU_InitStruct.IsCacheable = MPU_ACCESS_NOT_CACHEABLE;
  MPU_InitStruct.IsBufferable = MPU_ACCESS_NOT_BUFFERABLE;

  HAL_MPU_ConfigRegion(&MPU_InitStruct);

  /** Initializes and configures the Region and the memory to be protected
   */
  MPU_InitStruct.Number = MPU_REGION_NUMBER1;
  MPU_InitStruct.Size = MPU_REGION_SIZE_1KB;
  MPU_InitStruct.TypeExtField = MPU_TEX_LEVEL0;
  MPU_InitStruct.IsBufferable = MPU_ACCESS_BUFFERABLE;

  HAL_MPU_ConfigRegion(&MPU_InitStruct);

  /** Initializes and configures the Region and the memory to be protected
   */
  MPU_InitStruct.Number = MPU_REGION_NUMBER2;
  MPU_InitStruct.BaseAddress = 0x24000000;
  MPU_InitStruct.Size = MPU_REGION_SIZE_512KB;
  MPU_InitStruct.TypeExtField = MPU_TEX_LEVEL1;
  MPU_InitStruct.IsBufferable = MPU_ACCESS_NOT_BUFFERABLE;

  HAL_MPU_ConfigRegion(&MPU_InitStruct);
  /* Enables the MPU */
  HAL_MPU_Enable(MPU_PRIVILEGED_DEFAULT);
}

void HAL_TIM_PeriodElapsedCallback(TIM_HandleTypeDef *htim)
{
  if (htim->Instance == TIM6)
  {
    HAL_IncTick();
  }
}

void Error_Handler(void)
{
  /* USER CODE BEGIN Error_Handler_Debug */
  /* User can add his own implementation to report the HAL error return state */

  __disable_irq();
  while (1)
  {
    /* LED点灯 (PD9/PD10はアノードが+3.3Vに接続されており、Lowで点灯する) */
    HAL_GPIO_WritePin(LED_1_GPIO_Port, LED_1_Pin, GPIO_PIN_RESET);
    HAL_GPIO_WritePin(LED_2_GPIO_Port, LED_2_Pin, GPIO_PIN_RESET);

    // スケジューラが起動している場合のみ osDelay を使用
    if (osKernelRunning())
    {
      osDelay(500);
      CDC_Transmit_HS((uint8_t *)"Error_Handler\r\n", strlen("Error_Handler\r\n"));
    }
    else
    {
      // スケジューラ未起動時は HAL_Delay を使用
      for (volatile uint32_t i = 0; i < 2000000; i++)
        ;
    }

    /* LED消灯 */
    HAL_GPIO_WritePin(LED_1_GPIO_Port, LED_1_Pin, GPIO_PIN_SET);
    HAL_GPIO_WritePin(LED_2_GPIO_Port, LED_2_Pin, GPIO_PIN_SET);

    if (osKernelRunning())
    {
      osDelay(500);
    }
    else
    {
      for (volatile uint32_t i = 0; i < 2000000; i++)
        ;
    }
  }
  /* USER CODE END Error_Handler_Debug */
}
